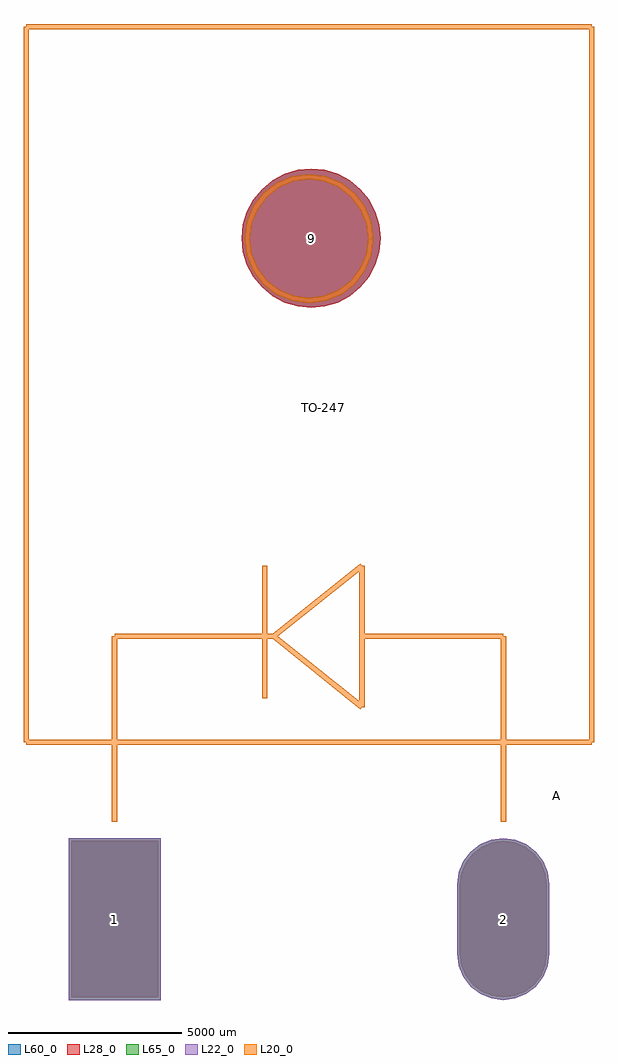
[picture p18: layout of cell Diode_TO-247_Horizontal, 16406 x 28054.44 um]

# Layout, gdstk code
import gdstk
lib = gdstk.Library(unit=1e-6, precision=1e-09)
def R(c, l, rs):  # rectangles x0, y0, x1, y1
    for r in rs: c.add(gdstk.rectangle(r[:2], r[2:], *l))
def P(c, l, *ps):  # polygons
    for p in ps: c.add(gdstk.Polygon(p, *l))
L20_0 = (20, 0)
L22_0 = (22, 0)
L28_0 = (28, 0)
L60_0 = (60, 0)
L65_0 = (65, 0)

diode_to_247_horizontal = lib.new_cell('Diode_TO-247_Horizontal')
R(diode_to_247_horizontal, L22_0, [(-1332.3,-2325.44,1317.06,2325.44)])
P(diode_to_247_horizontal, L22_0, [(11168.38,-2325.44),(11511.232,-2280.303),(11830.72,-2147.967),(12105.07,-1937.45),(12315.587,-1663.1),(12447.923,-1343.612),(12493.06,-1000.76),(12493.06,1000.76),(12447.923,1343.612),(12315.587,1663.1),(12105.07,1937.45),(11830.72,2147.967),(11511.232,2280.303),(11168.38,2325.44),(10825.528,2280.303),(10506.04,2147.967),(10231.69,1937.45),(10021.173,1663.1),(9888.837,1343.612),(9843.7,1000.76),(9843.7,-1000.76),(9888.837,-1343.612),(10021.173,-1663.1),(10231.69,-1937.45),(10506.04,-2147.967),(10825.528,-2280.303)])
R(diode_to_247_horizontal, L28_0, [(-1257.3,-2250.44,1242.06,2250.44)])
P(diode_to_247_horizontal, L28_0, [(7644.13,19570.7),(7605.696,19960.929),(7491.87,20336.163),(7307.027,20681.979),(7058.27,20985.09),(6755.159,21233.847),(6409.343,21418.69),(6034.109,21532.516),(5643.88,21570.95),(5253.651,21532.516),(4878.417,21418.69),(4532.601,21233.847),(4229.49,20985.09),(3980.733,20681.979),(3795.89,20336.163),(3682.064,19960.929),(3643.63,19570.7),(3682.064,19180.471),(3795.89,18805.237),(3980.733,18459.421),(4229.49,18156.31),(4532.601,17907.553),(4878.417,17722.71),(5253.651,17608.884),(5643.88,17570.45),(6034.109,17608.884),(6409.343,17722.71),(6755.159,17907.553),(7058.27,18156.31),(7307.027,18459.421),(7491.87,18805.237),(7605.696,19180.471)],
  [(11168.38,-2250.44),(11491.821,-2207.858),(11793.22,-2083.015),(12052.037,-1884.417),(12250.635,-1625.6),(12375.478,-1324.201),(12418.06,-1000.76),(12418.06,1000.76),(12375.478,1324.201),(12250.635,1625.6),(12052.037,1884.417),(11793.22,2083.015),(11491.821,2207.858),(11168.38,2250.44),(10844.939,2207.858),(10543.54,2083.015),(10284.723,1884.417),(10086.125,1625.6),(9961.282,1324.201),(9918.7,1000.76),(9918.7,-1000.76),(9961.282,-1324.201),(10086.125,-1625.6),(10284.723,-1884.417),(10543.54,-2083.015),(10844.939,-2207.858)])
R(diode_to_247_horizontal, L60_0, [(-1257.3,-2250.44,1242.06,2250.44)])
P(diode_to_247_horizontal, L60_0, [(7644.13,19570.7),(7605.696,19960.929),(7491.87,20336.163),(7307.027,20681.979),(7058.27,20985.09),(6755.159,21233.847),(6409.343,21418.69),(6034.109,21532.516),(5643.88,21570.95),(5253.651,21532.516),(4878.417,21418.69),(4532.601,21233.847),(4229.49,20985.09),(3980.733,20681.979),(3795.89,20336.163),(3682.064,19960.929),(3643.63,19570.7),(3682.064,19180.471),(3795.89,18805.237),(3980.733,18459.421),(4229.49,18156.31),(4532.601,17907.553),(4878.417,17722.71),(5253.651,17608.884),(5643.88,17570.45),(6034.109,17608.884),(6409.343,17722.71),(6755.159,17907.553),(7058.27,18156.31),(7307.027,18459.421),(7491.87,18805.237),(7605.696,19180.471)],
  [(11168.38,-2250.44),(11491.821,-2207.858),(11793.22,-2083.015),(12052.037,-1884.417),(12250.635,-1625.6),(12375.478,-1324.201),(12418.06,-1000.76),(12418.06,1000.76),(12375.478,1324.201),(12250.635,1625.6),(12052.037,1884.417),(11793.22,2083.015),(11491.821,2207.858),(11168.38,2250.44),(10844.939,2207.858),(10543.54,2083.015),(10284.723,1884.417),(10086.125,1625.6),(9961.282,1324.201),(9918.7,1000.76),(9918.7,-1000.76),(9961.282,-1324.201),(10086.125,-1625.6),(10284.723,-1884.417),(10543.54,-2083.015),(10844.939,-2207.858)])
R(diode_to_247_horizontal, L65_0, [(-1332.3,-2325.44,1317.06,2325.44)])
P(diode_to_247_horizontal, L65_0, [(11168.38,-2325.44),(11511.232,-2280.303),(11830.72,-2147.967),(12105.07,-1937.45),(12315.587,-1663.1),(12447.923,-1343.612),(12493.06,-1000.76),(12493.06,1000.76),(12447.923,1343.612),(12315.587,1663.1),(12105.07,1937.45),(11830.72,2147.967),(11511.232,2280.303),(11168.38,2325.44),(10825.528,2280.303),(10506.04,2147.967),(10231.69,1937.45),(10021.173,1663.1),(9888.837,1343.612),(9843.7,1000.76),(9843.7,-1000.76),(9888.837,-1343.612),(10021.173,-1663.1),(10231.69,-1937.45),(10506.04,-2147.967),(10825.528,-2280.303)])
diode_to_247_horizontal.add(gdstk.FlexPath([(13708.38,5080),(-2547.62,5080)], 149.998, ends="flush", simple_path=True, layer=20, datatype=0))  # L20_0
diode_to_247_horizontal.add(gdstk.FlexPath([(-2547.62,5080),(-2547.62,25654)], 149.998, ends="flush", simple_path=True, layer=20, datatype=0))  # L20_0
diode_to_247_horizontal.add(gdstk.FlexPath([(-2547.62,25654),(13708.38,25654)], 149.998, ends="flush", simple_path=True, layer=20, datatype=0))  # L20_0
diode_to_247_horizontal.add(gdstk.FlexPath([(13708.38,25654),(13708.38,5080)], 149.998, ends="flush", simple_path=True, layer=20, datatype=0))  # L20_0
diode_to_247_horizontal.add(gdstk.FlexPath([(7358.38,19558),(7297.796,20018.18),(7120.173,20447),(6837.616,20815.236),(6469.38,21097.793),(6040.56,21275.416),(5580.38,21336),(5120.2,21275.416),(4691.38,21097.793),(4323.144,20815.236),(4040.587,20447),(3862.964,20018.18),(3802.38,19558),(3862.964,19097.82),(4040.587,18669),(4323.144,18300.764),(4691.38,18018.207),(5120.2,17840.584),(5580.38,17780),(6040.56,17840.584),(6469.38,18018.207),(6837.616,18300.764),(7120.173,18669),(7297.796,19097.82),(7358.38,19558)], 149.998, ends="flush", simple_path=True, layer=20, datatype=0))  # L20_0
diode_to_247_horizontal.add(gdstk.FlexPath([(11168.38,2794),(11168.38,5080)], 149.998, ends="flush", simple_path=True, layer=20, datatype=0))  # L20_0
diode_to_247_horizontal.add(gdstk.FlexPath([(-7.62,2794),(-7.62,5080)], 149.998, ends="flush", simple_path=True, layer=20, datatype=0))  # L20_0
diode_to_247_horizontal.add(gdstk.FlexPath([(4310.38,10160),(4310.38,6350)], 149.998, ends="flush", simple_path=True, layer=20, datatype=0))  # L20_0
diode_to_247_horizontal.add(gdstk.FlexPath([(7104.38,6096),(4564.38,8128)], 149.998, ends="flush", simple_path=True, layer=20, datatype=0))  # L20_0
diode_to_247_horizontal.add(gdstk.FlexPath([(7104.38,10160),(7104.38,6096)], 149.998, ends="flush", simple_path=True, layer=20, datatype=0))  # L20_0
diode_to_247_horizontal.add(gdstk.FlexPath([(4564.38,8128),(7104.38,10160)], 149.998, ends="flush", simple_path=True, layer=20, datatype=0))  # L20_0
diode_to_247_horizontal.add(gdstk.FlexPath([(-7.62,8128),(4564.38,8128)], 149.998, ends="flush", simple_path=True, layer=20, datatype=0))  # L20_0
diode_to_247_horizontal.add(gdstk.FlexPath([(-7.62,5080),(-7.62,8128)], 149.998, ends="flush", simple_path=True, layer=20, datatype=0))  # L20_0
diode_to_247_horizontal.add(gdstk.FlexPath([(11168.38,8128),(11168.38,5080)], 149.998, ends="flush", simple_path=True, layer=20, datatype=0))  # L20_0
diode_to_247_horizontal.add(gdstk.FlexPath([(7104.38,8128),(11168.38,8128)], 149.998, ends="flush", simple_path=True, layer=20, datatype=0))  # L20_0
diode_to_247_horizontal.add(gdstk.Label('9', (5643.88,19570.7), layer=60, texttype=0))
diode_to_247_horizontal.add(gdstk.Label('2', (11168.38,0), layer=28, texttype=0))
diode_to_247_horizontal.add(gdstk.Label('1', (-7.62,0), layer=28, texttype=0))
diode_to_247_horizontal.add(gdstk.Label('TO-247', (5986.78,14706.6), layer=9, texttype=0))
diode_to_247_horizontal.add(gdstk.Label('A', (12692.38,3556), layer=9, texttype=0))
diode_to_247_horizontal.add(gdstk.Label('type', (4310.38,-5080), layer=9, texttype=0))
diode_to_247_horizontal.add(gdstk.Label('devicename', (4564.38,27432), layer=9, texttype=0))

lib.write_gds('Diode_TO-247_Horizontal.gds')
